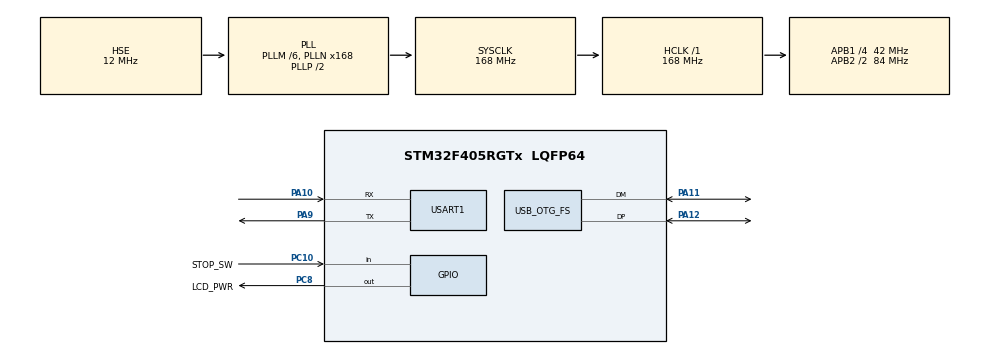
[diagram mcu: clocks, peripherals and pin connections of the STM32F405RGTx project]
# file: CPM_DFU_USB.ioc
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Mcu.Family=STM32F4
Mcu.Name=STM32F405RGTx
Mcu.Package=LQFP64
NVIC.OTG_FS_IRQn=true\:0\:0\:false\:false\:true\:false
NVIC.PriorityGroup=NVIC_PRIORITYGROUP_4
PA10.Mode=Asynchronous
PA10.Signal=USART1_RX
PA11.Mode=Host_Only
PA11.Signal=USB_OTG_FS_DM
PA12.Mode=Host_Only
PA12.Signal=USB_OTG_FS_DP
PA13.Mode=Serial_Wire
PA13.Signal=SYS_JTMS-SWDIO
PA14.Mode=Serial_Wire
PA14.Signal=SYS_JTCK-SWCLK
PA9.Mode=Asynchronous
PA9.Signal=USART1_TX
PC10.GPIO_Label=STOP_SW
PC10.GPIO_PuPd=GPIO_PULLUP
PC10.Signal=GPIO_Input
PC8.GPIO_Label=LCD_PWR
PC8.Signal=GPIO_Output
PH0-OSC_IN.Mode=HSE-External-Oscillator
PH0-OSC_IN.Signal=RCC_OSC_IN
PH1-OSC_OUT.Mode=HSE-External-Oscillator
PH1-OSC_OUT.Signal=RCC_OSC_OUT
ProjectManager.HeapSize=0x800
ProjectManager.StackSize=0x400
ProjectManager.TargetToolchain=EWARM
RCC.48MHZClocksFreq_Value=48000000
RCC.AHBFreq_Value=168000000
RCC.APB1CLKDivider=RCC_HCLK_DIV4
RCC.APB1Freq_Value=42000000
RCC.APB1TimFreq_Value=84000000
RCC.APB2CLKDivider=RCC_HCLK_DIV2
RCC.APB2Freq_Value=84000000
RCC.APB2TimFreq_Value=168000000
RCC.CortexFreq_Value=168000000
RCC.HCLKFreq_Value=168000000
RCC.HSE_VALUE=12000000
RCC.HSI_VALUE=16000000
RCC.LSE_VALUE=32768
RCC.PLLM=6
RCC.PLLN=168
RCC.PLLQ=7
RCC.SYSCLKFreq_VALUE=168000000
RCC.SYSCLKSource=RCC_SYSCLKSOURCE_PLLCLK
RCC.VCOOutputFreq_Value=336000000
USART1.VirtualMode=VM_ASYNC
USB_HOST.USBH_HandleTypeDef-MSC_FS=hUsbHostFS
USB_HOST.VirtualModeFS=Msc
USB_OTG_FS.VirtualMode=Host_Only
USB_OTG_FS.phy_itface=HCD_PHY_EMBEDDED
VP_FATFS_VS_USB.Mode=USB
VP_USB_HOST_VS_USB_HOST_MSC_FS.Mode=MSC_FS
board=CPM_DFU_USB

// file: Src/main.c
/**
  ******************************************************************************
  * File Name          : main.c
  * Description        : Main program body
  ******************************************************************************
  * This notice applies to any and all portions of this file
  * that are not between comment pairs USER CODE BEGIN and
  * USER CODE END. Other portions of this file, whether
  * inserted by the user or by software development tools
  * are owned by their respective copyright owners.
  *
  * Copyright (c) 2018 STMicroelectronics International N.V.
  * All rights reserved.
  *
  * Redistribution and use in source and binary forms, with or without
  * modification, are permitted, provided that the following conditions are met:
  *
  * 1. Redistribution of source code must retain the above copyright notice,
  *    this list of conditions and the following disclaimer.
  * 2. Redistributions in binary form must reproduce the above copyright notice,
  *    this list of conditions and the following disclaimer in the documentation
  *    and/or other materials provided with the distribution.
  * 3. Neither the name of STMicroelectronics nor the names of other
  *    contributors to this software may be used to endorse or promote products
  *    derived from this software without specific written permission.
  * 4. This software, including modifications and/or derivative works of this
  *    software, must execute solely and exclusively on microcontroller or
  *    microprocessor devices manufactured by or for STMicroelectronics.
  * 5. Redistribution and use of this software other than as permitted under
  *    this license is void and will automatically terminate your rights under
  *    this license.
  *
  * THIS SOFTWARE IS PROVIDED BY STMICROELECTRONICS AND CONTRIBUTORS "AS IS"
  * AND ANY EXPRESS, IMPLIED OR STATUTORY WARRANTIES, INCLUDING, BUT NOT
  * LIMITED TO, THE IMPLIED WARRANTIES OF MERCHANTABILITY, FITNESS FOR A
  * PARTICULAR PURPOSE AND NON-INFRINGEMENT OF THIRD PARTY INTELLECTUAL PROPERTY
  * RIGHTS ARE DISCLAIMED TO THE FULLEST EXTENT PERMITTED BY LAW. IN NO EVENT
  * SHALL STMICROELECTRONICS OR CONTRIBUTORS BE LIABLE FOR ANY DIRECT, INDIRECT,
  * INCIDENTAL, SPECIAL, EXEMPLARY, OR CONSEQUENTIAL DAMAGES (INCLUDING, BUT NOT
  * LIMITED TO, PROCUREMENT OF SUBSTITUTE GOODS OR SERVICES; LOSS OF USE, DATA,
  * OR PROFITS; OR BUSINESS INTERRUPTION) HOWEVER CAUSED AND ON ANY THEORY OF
  * LIABILITY, WHETHER IN CONTRACT, STRICT LIABILITY, OR TORT (INCLUDING
  * NEGLIGENCE OR OTHERWISE) ARISING IN ANY WAY OUT OF THE USE OF THIS SOFTWARE,
  * EVEN IF ADVISED OF THE POSSIBILITY OF SUCH DAMAGE.
  *
  ******************************************************************************
  */

#include "main.h"
#include "stm32f4xx_hal.h"
#include "fatfs.h"
#include "usb_host.h"

UART_HandleTypeDef huart1;

/* USER CODE BEGIN PV */
#define ADDR_FLASH_SECTOR_0     ((uint32_t)0x08000000) /* Base @ of Sector 0, 16 Kbytes */
#define ADDR_FLASH_SECTOR_1     ((uint32_t)0x08004000) /* Base @ of Sector 1, 16 Kbytes */
#define ADDR_FLASH_SECTOR_2     ((uint32_t)0x08008000) /* Base @ of Sector 2, 16 Kbytes */
#define ADDR_FLASH_SECTOR_3     ((uint32_t)0x0800C000) /* Base @ of Sector 3, 16 Kbytes */
#define ADDR_FLASH_SECTOR_4     ((uint32_t)0x08010000) /* Base @ of Sector 4, 64 Kbytes */
#define ADDR_FLASH_SECTOR_5     ((uint32_t)0x08020000) /* Base @ of Sector 5, 128 Kbytes */
#define ADDR_FLASH_SECTOR_6     ((uint32_t)0x08040000) /* Base @ of Sector 6, 128 Kbytes */
#define ADDR_FLASH_SECTOR_7     ((uint32_t)0x08060000) /* Base @ of Sector 7, 128 Kbytes */
#define ADDR_FLASH_SECTOR_8     ((uint32_t)0x08080000) /* Base @ of Sector 8, 128 Kbytes */
#define ADDR_FLASH_SECTOR_9     ((uint32_t)0x080A0000) /* Base @ of Sector 9, 128 Kbytes */
#define ADDR_FLASH_SECTOR_10    ((uint32_t)0x080C0000) /* Base @ of Sector 10, 128 Kbytes */
#define ADDR_FLASH_SECTOR_11    ((uint32_t)0x080E0000) /* Base @ of Sector 11, 128 Kbytes */

#define FLASH_USER_START_ADDR		ADDR_FLASH_SECTOR_3   /* Start @ of user Flash area */
#define FLASH_USER_END_ADDR     	ADDR_FLASH_SECTOR_11   /* End @ of user Flash area */
#define FLASH_ENDURANCE			(10000-100)

#define FLASH_PAGE_SIZE1         		((uint32_t)(1024*1))   /* FLASH Page Size (1024 byte) */
#define FLASH_PAGE_SIZE16         		((uint32_t)(1024*16))   /* FLASH Page Size (16384 byte) */
#define FLASH_PAGE_SIZE64         		((uint32_t)(1024*64))   /* FLASH Page Size (16384 byte) */
#define FLASH_PAGE_SIZE128        	((uint32_t)(1024*128))   /* FLASH Page Size (16384 byte) */
#define FLASH_PI_DATA_SIZE				64 //patient info data size
#define FLASH_PI_TOTAL_NUM				512

#define FLASH_SYSTEM_INFO_ADDR		(uint32_t)FLASH_USER_START_ADDR
#define FLASH_SYSTEM_INFO2_ADDR		(uint32_t)(FLASH_SYSTEM_INFO_ADDR+FLASH_PAGE_SIZE16)	//for bad block after 100,000 write
#define FLASH_PATIENT_DATA_ADDR		(uint32_t)(FLASH_SYSTEM_INFO2_ADDR+FLASH_PAGE_SIZE16)
#define FLASH_PATIENT_DATA2_ADDR		(uint32_t)(FLASH_PATIENT_DATA_ADDR+ \
										(FLASH_PI_DATA_SIZE*FLASH_PI_TOTAL_NUM)*FLASH_PAGE_SIZE16)	//for bad block

#define SIZE_OF_U32						4
#define APP_BLOCK_TRANSFER_SIZE		512
#define PRINTF_BUF  100
#define FLASH_SPACE_FOR_FW			1024*1024-(128*2*1024+16*2*1024)
//HX 	: hexar
//_KR 	: model name
//50 	: model version and region
//P		: type
#define FW_FILE_NAME					"\\HX_KR20P.BIN"
//
//support function
//#define SUPPORT_BD_V21

enum _LANG_TYPE {
	LT_ENG,				//pjg<>180330 change position to kor
	LT_KOR,
	LT_CHINA,
	LT_MAX
};

enum _OS_ERROR_CODE {
	//드라이버 IC
	EC_MDIC_UNDER_VOL,			//저전압
	EC_MDIC_HIGH_TEMP,			//고온
	EC_MDIC_HOLL,					//홀 센싱 에러
	EC_MDIC_SHORT_GND,			//그라운드로 단락
	EC_MDIC_SHORT_VCC,			//전원으로 단락
	EC_MDIC_MOTOR_SHORT,			//모터 단락
	EC_MDIC_LOW_CUR,				//저전류
	//모터관련
	EC_MOTOR_OVERLOAD	= 20,	//모터 과부하
	//LCD
	EC_LCD_COMM			= 40,	//LCD와 통신 에러
	//HOME-IN
	EC_HOMEIN				= 60,	//홈인 에러
	EC_OVER_RANGE,				//구동 중 제한 범위 벗어난 경우
	//USB
	EC_USB_DISK_FAIL		= 80,	//USB 인식 안됨
	EC_USB_OPEN,					//파일 열기 안됨
	EC_USB_WRITE,					//파일 쓰기 안됨
	EC_USB_READ,					//파일 읽기 안됨
	//EEPROM
	EC_EEP_READ			= 90,	//읽기 안됨
	EC_EEP_WRITE,					//쓰기 안됨
	//Login
	EC_LOGIN_PWD_ERR,				//암호5회 틀림
	//etc
	EC_EMPTY_SYSINFO,				//시스템 파라미터 없음. (Calibration 실행 )
	EC_NO_FIRMWARE,				//펌웨어 없음(DFU)
	Error_MAX
};

enum _KEY_TYPE {
	KEY_NONE,
	KEY_SHORT,
	KEY_LONG,
	KEY_LONG_10S,
	KEY_MAX
};

/* Private variables ---------------------------------------------------------*/
char *pSndInfo[][LT_MAX] = {
	//eng                               kor                         china   etc..
	{"sp wav/1E.wav\r",	 	"sp wav/1.wav\r",  	"sp wav/1c.wav\r"},		//angle
	{"sp wav/2E.wav\r",		 "sp wav/2.wav\r",  	"sp wav/2c.wav\r"},		//go home
	{"sp wav/3.wav\r",		 "sp wav/3.wav\r",  	"sp wav/3.wav\r"},		// go first button
	{"sp wav/4E.wav\r",		 "sp wav/4.wav\r",  	"sp wav/4c.wav\r"},		//run stop
	{"sp wav/5E.wav\r",		 "sp wav/5.wav\r",  	"sp wav/5c.wav\r"},		//run start
	{"sp wav/6E.wav\r",		 "sp wav/6.wav\r",  	"sp wav/6c.wav\r"},		//run pause
	{"sp wav/7E.wav\r",		 "sp wav/7.wav\r",  	"sp wav/7c.wav\r"},		//patient info
	{"sp wav/8.wav\r", 		 "sp wav/8.wav\r",  	"sp wav/8.wav\r"},		//left/right button
	{"sp wav/9E.wav\r",		 "sp wav/9.wav\r",  	"sp wav/9c.wav\r"},		//speed/time
	{"sp wav/10E.wav\r",		 "sp wav/10.wav\r", 	"sp wav/10c.wav\r"},		//init system
	{"sp wav/11.wav\r",		 "sp wav/11.wav\r", 	"sp wav/11.wav\r"},		//up/down button
	{"sp wav/12E.wav\r", 		 "sp wav/12.wav\r", 	"sp wav/12c.wav\r"},		//motor overload
	{"sp wav/13.wav\r", 		 "sp wav/13.wav\r", 	"sp wav/13.wav\r"},		//go to setup
	{"sp wav/14E.wav\r", 	 	 "sp wav/14.wav\r", 	"sp wav/14c.wav\r"},		//train complete
	{"sp wav/15E.wav\r\0", 	 "sp wav/15.wav\r\0", 	"sp wav/15c.wav\r\0"},		//system error
	{"sp wav/16E.wav\r\0", 	 "sp wav/16E.wav\r\0", 	"sp wav/16E.wav\r\0"},		//calibration complete
};

FIL fp; //file handle
DIR fat_dir;				    /* Directory object */
FILINFO fno;			  /* File information object */
FATFS fatfs; //structure with file system information
FRESULT FATFS_Status;
uint8_t appBuffer[FLASH_PAGE_SIZE16+1];
FLASH_EraseInitTypeDef EraseInitStruct;
uint32_t SectorError;
char USBH_Path[4];  /* USBH logical drive path */
uint32_t keyPressNum = 0;
uint32_t keyReleaseNum = 0;
char bufchk[100];
uint8_t fFWOk;
uint8_t fDispBootScreen;
uint32_t bootTime;
uint8_t drawPos;

extern ApplicationTypeDef Appli_state;

/* USER CODE END PV */

void SystemClock_Config(void);
static void MX_GPIO_Init(void);
static void MX_USART1_UART_Init(void);
void MX_USB_HOST_Process(void);

/* USER CODE BEGIN PFP */
/* Private function prototypes -----------------------------------------------*/

/* USER CODE END PFP */

/* USER CODE BEGIN 0 */
void uart_putstring(char *pbuf)
{
	int i;

	for (i = 0; i < PRINTF_BUF; i++) {
		bufchk[i] = pbuf[i];
		if (pbuf[i] == 0) break;
                    //printf("%c",pbuf[i]);
	}
    HAL_UART_Transmit(&huart1, (uint8_t *)bufchk, i, i*10);
}

uint8_t UI_DisplayErrorCode(uint16_t code)
{
	char buf[18];
	uint8_t errcode;
	//int i;

	buf[0] = 'i';
	buf[1] = ' ';
	buf[2] = 'r';
	//buf[3] = '0';
	buf[4] = '.';
	buf[5] = 'p';
	buf[6] = 'n';
	buf[7] = 'g';
	buf[8] = ',';
	buf[9] = '2';
	buf[10] = '9';
	buf[11] = '0';
	buf[12] = ',';
	buf[13] = '1';
	buf[14] = '1';
	buf[15] = '3';
	buf[16] = '\r';
	buf[17] = 0;

	errcode = (uint8_t)(code&0x00ff);
	uart_putstring("i error.png,0,0\r");

	buf[3] = '0' + errcode/10;
	uart_putstring(buf); //1st
	buf[3] = '0' + errcode%10;
	buf[9] = '3';	//x coord
	buf[10] = '0';
	buf[11] = '5';
	uart_putstring(buf); //2st

	return ((uint8_t)(code>>8));
}

char *UI_GetSndInfo(uint8_t num)
{
	return pSndInfo[num][0];
}

void UI_AniProgress2(uint32_t pos)
{
    if (pos >= 10) return;
	switch (pos%10) {
	case 0:
		uart_putstring("i lsndb.bmp,102,177\r");
		uart_putstring("i rsndb.bmp,107,177\r");
		//APP_SendMessage(hParent, WM_PAINT, 0, (LPARAM)"i fbar.bmp,99,173\r");
		break;
	case 1:
		uart_putstring("i rsndb.bmp,132,177\r");
		break;
	case 2:
		uart_putstring("i rsndb.bmp,157,177\r");
		break;
	case 3:
		uart_putstring("i rsndb.bmp,182,177\r");
		break;
	case 4:
		uart_putstring("i rsndb.bmp,207,177\r");
		break;
	case 5:
		uart_putstring("i rsndb.bmp,232,177\r");
		break;
	case 6:
		uart_putstring("i rsndb.bmp,260,177\r");
		break;
	case 7:
		uart_putstring("i rsndb.bmp,288,177\r");
		break;
	case 8:
		uart_putstring("i rsndb.bmp,316,177\r");
		break;
	case 9:
		uart_putstring("i rsndb.bmp,344,177\r");
		break;
	}
}

void UI_DisplayProgress(int value, int max)
{
	int _1st, _2nd, _3rd;
	int per;
	int temp;
	char buf[18];
    char lang;

    lang = 1;

	buf[0] = 'i';
	buf[1] = ' ';
	buf[2] = '0';
	//buf[3] = '0';
	buf[4] = '.';
	buf[5] = 'b';
	buf[6] = 'm';
	buf[7] = 'p';
	buf[8] = ',';
    if (lang == 0) {
        buf[9] = '2';
        buf[10] = '1';
        buf[11] = '4';
    }
    else {
         buf[9] = '2';
        buf[10] = '1';
        buf[11] = '4';
   }
	buf[12] = ',';
	buf[13] = '1';
	buf[14] = '4';
	buf[15] = '2';
	buf[16] = '\r';
    buf[17] = 0;

	per = (value*100)/max;
    if (drawPos == per) return;
    drawPos = per;
	//per += 1;
	_3rd= per/100;
	temp = per%100;
	_2nd = temp/10;
	_1st = temp%10;
	buf[3] = '0'+_1st;
	uart_putstring(buf);
	buf[3] = '0'+_2nd;
	buf[10] = '0';//'1';
	buf[11] = '0';//'2';
	if(_2nd > 0 || _3rd > 0)
		uart_putstring(buf);
	buf[3] = '0'+_3rd;
	buf[9] = '1';
	buf[10] = '8';//'9';
	buf[11] = '6';//'8';
	if(_3rd > 0)
		uart_putstring(buf);
	UI_AniProgress2(per/10);

}

static uint32_t GetSector(uint32_t Address)
{
	uint32_t sector = 0;

	if((Address < ADDR_FLASH_SECTOR_1) && (Address >= ADDR_FLASH_SECTOR_0))
	{
		sector = FLASH_SECTOR_0;
	}
	else if((Address < ADDR_FLASH_SECTOR_2) && (Address >= ADDR_FLASH_SECTOR_1))
	{
		sector = FLASH_SECTOR_1;
	}
	else if((Address < ADDR_FLASH_SECTOR_3) && (Address >= ADDR_FLASH_SECTOR_2))
	{
		sector = FLASH_SECTOR_2;
	}
	else if((Address < ADDR_FLASH_SECTOR_4) && (Address >= ADDR_FLASH_SECTOR_3))
	{
		sector = FLASH_SECTOR_3;
	}
	else if((Address < ADDR_FLASH_SECTOR_5) && (Address >= ADDR_FLASH_SECTOR_4))
	{
		sector = FLASH_SECTOR_4;
	}
	else if((Address < ADDR_FLASH_SECTOR_6) && (Address >= ADDR_FLASH_SECTOR_5))
	{
		sector = FLASH_SECTOR_5;
	}
	else if((Address < ADDR_FLASH_SECTOR_7) && (Address >= ADDR_FLASH_SECTOR_6))
	{
		sector = FLASH_SECTOR_6;
	}
	else if((Address < ADDR_FLASH_SECTOR_8) && (Address >= ADDR_FLASH_SECTOR_7))
	{
		sector = FLASH_SECTOR_7;
	}
	else if((Address < ADDR_FLASH_SECTOR_9) && (Address >= ADDR_FLASH_SECTOR_8))
	{
		sector = FLASH_SECTOR_8;
	}
	else if((Address < ADDR_FLASH_SECTOR_10) && (Address >= ADDR_FLASH_SECTOR_9))
	{
		sector = FLASH_SECTOR_9;
	}
	else if((Address < ADDR_FLASH_SECTOR_11) && (Address >= ADDR_FLASH_SECTOR_10))
	{
		sector = FLASH_SECTOR_10;
	}
	else /* (Address < FLASH_END_ADDR) && (Address >= ADDR_FLASH_SECTOR_11) */
	{
		sector = FLASH_SECTOR_11;
	}

	return sector;
}

int CopyAppToUserMemory(FSIZE_t appSize)
{
	uint32_t i, j, k;
	FSIZE_t appTailSize, appBodySize;
	FSIZE_t appAddrPointer;
	UINT readBytes;
    uint32_t total_per;

	uart_putstring("i Saving.png,0,0\r");
	UI_DisplayProgress(0, 100);

	if (f_lseek(&fp, 0) != FR_OK) return 0; //Go to the fist position of file
	appTailSize = appSize % APP_BLOCK_TRANSFER_SIZE;
	appBodySize = appSize - appTailSize;
	appAddrPointer = 0;
    total_per = ((appSize / FLASH_PAGE_SIZE16) + 1) + appBodySize/APP_BLOCK_TRANSFER_SIZE + 1;
    k = 0;
	HAL_FLASH_Unlock();
	for(i = 0; i < ((appSize / FLASH_PAGE_SIZE16) + 1); i++) //Erase n + 1 pages for new application
	{
		//while(FLASH_GetStatus() != FLASH_COMPLETE);
		EraseInitStruct.Sector = GetSector(FLASH_USER_START_ADDR + i * FLASH_PAGE_SIZE16);
		if (HAL_FLASHEx_Erase(&EraseInitStruct, &SectorError) != HAL_OK)
		{
			//uSysStatus.all |= FLASH_ERASE_FAIL;
			HAL_FLASH_Lock();
			return 0;
		}
		UI_DisplayProgress(k++, total_per);
	}

	for(i = 0; i < appBodySize; i += APP_BLOCK_TRANSFER_SIZE)
	{
		/*
		* For example, size of File1 = 1030 bytes
		* File1 = 2 * 512 bytes + 6 bytes
		* "body" = 2 * 512, "tail" = 6
		* Let's write "body" and "tail" to MCU FLASH byte after byte with 512-byte blocks
		*/
		if (f_read(&fp, appBuffer, APP_BLOCK_TRANSFER_SIZE, &readBytes)  != FR_OK)
			return 0; //Read 512 byte from file
		if (APP_BLOCK_TRANSFER_SIZE != readBytes) return 0;

        if (i == 0)
          ;//appBuffer[8] ^= 0xe0; //decode
		for(j = 0; j < APP_BLOCK_TRANSFER_SIZE; j += SIZE_OF_U32) //write 512 byte to FLASH
		{
			//while(FLASH_GetStatus() != FLASH_COMPLETE);
			if (HAL_FLASH_Program(FLASH_TYPEPROGRAM_WORD,
				FLASH_USER_START_ADDR + i + j,
				*((uint32_t *)&appBuffer[j])) != HAL_OK)
			{
				//uSysStatus.all |= FLASH_WRITE_FAIL;
				HAL_FLASH_Lock();
				return 0;
			}
		}
		appAddrPointer += APP_BLOCK_TRANSFER_SIZE; //pointer to current position in FLASH for write
		UI_DisplayProgress(k++, total_per);
	}

	if (f_read(&fp, appBuffer, appTailSize, &readBytes) != FR_OK)
		return 0; //Read "tail" that < 512 bytes from file
		if (appTailSize != readBytes) return 0;
	while((appTailSize % SIZE_OF_U32) != 0)     //if appTailSize MOD 4 != 0 (seems not possible, but still...)
	{
		appTailSize++;              //increase the tail to a multiple of 4
		appBuffer[appTailSize - 1] = 0xFF;  //and put 0xFF in this tail place
	}

	for(i = 0; i < appTailSize; i += SIZE_OF_U32) //write "tail" to FLASH
	{
		//while(FLASH_GetStatus() != FLASH_COMPLETE);
		if (HAL_FLASH_Program(FLASH_TYPEPROGRAM_WORD,
			FLASH_USER_START_ADDR + appAddrPointer + i,
			*((volatile uint32_t*)(appBuffer + i))) != HAL_OK)
		{
			//uSysStatus.all |= FLASH_WRITE_FAIL;
			HAL_FLASH_Lock();
			return 0;
		}
	}
	UI_DisplayProgress(total_per, total_per);

	return 1;
}

void GoToUserApp(void)
{
	uint32_t appJumpAddress;
	void (*GoToApp)(void);

	/* Test if user code is programmed starting from address "ApplicationAddress" */
	if (((*(uint32_t*)FLASH_USER_START_ADDR) & 0x2FFF0000 ) == 0x20000000)
	{ /* Jump to user application */
		appJumpAddress = *((volatile uint32_t*)(FLASH_USER_START_ADDR + 4));
		GoToApp = (void (*)(void))appJumpAddress;
		//SCB->VTOR = FLASH_USER_START_ADDR;
		__set_MSP(*((volatile uint32_t*) FLASH_USER_START_ADDR)); //stack pointer (to RAM) for USER app in this address
		GoToApp();
    	}
	else {
		if (bootTime < 200) HAL_Delay(200-bootTime);
		uart_putstring("\r");
		UI_DisplayErrorCode(EC_NO_FIRMWARE);
		uart_putstring(UI_GetSndInfo(14));
	}
}

uint32_t idlecnt = 0;;
uint32_t startcnt = 0;
uint32_t disconcnt = 0;
uint32_t readycnt = 0;
int CheckUSBMemory(void)
{
	//uint32_t i;

	//while (1)
	{
		//MX_USB_HOST_Process();
		if (Appli_state == APPLICATION_IDLE) {
			idlecnt++;
			return 0;
		}
		else if (Appli_state == APPLICATION_START) {
			startcnt++;
			return 0;
		}
		else if (Appli_state == APPLICATION_DISCONNECT) {
			disconcnt++;
			return 0;
		}
		else if (Appli_state == APPLICATION_READY) {
			readycnt++;
			return 1;
			//break;
		}
		//i++;
		//if (i == 3400) {
		//	uart_putstring("i load.bmp,0,0\r");
		//}
		//if (i < 3500) return 0;
		//HAL_Delay(1);
	}
	return 1;
}

int CheckPressedKey(uint32_t loop, uint8_t flag)
{
	uint32_t i;

    HAL_GPIO_WritePin(LCD_PWR_GPIO_Port, LCD_PWR_Pin, GPIO_PIN_RESET);                                // LCD PWR LOW
   	keyReleaseNum = 0;
	keyPressNum = 0;
	bootTime = 0;
	if (HAL_GPIO_ReadPin(STOP_SW_GPIO_Port, STOP_SW_Pin) == GPIO_PIN_RESET) {
		for (i = 0; i < loop; i++) {
			MX_USB_HOST_Process();
			CheckUSBMemory();
			if (HAL_GPIO_ReadPin(STOP_SW_GPIO_Port, STOP_SW_Pin) == GPIO_PIN_RESET) {
				keyPressNum++;
				keyReleaseNum = 0;
			}
			else {
				if (keyPressNum) keyPressNum--;
				keyReleaseNum++;
				if (keyReleaseNum > 4) {
                    break;
                }
			}
			HAL_Delay(8);
			if (i == 20 && flag) {
				uart_putstring("\r");
				uart_putstring("i boot.bmp,0,0\r");
				fDispBootScreen = 1;
			}
			bootTime++;
		}
	}

	if (keyPressNum > 900) return KEY_LONG_10S;
	else if (keyPressNum > 200) return KEY_LONG;
	else if (keyPressNum > 2 && keyPressNum < 50) return KEY_SHORT;
	else {
        HAL_Delay(50);
        uart_putstring("\r");
        uart_putstring("i boot.bmp,0,0\r");
    }
	return KEY_NONE;
}

uint8_t FileCheckAndCopy(void)
{
	uint32_t i;
	UINT readBytes;
	FRESULT FILE_Status;
	FSIZE_t appSize;
    uint8_t tempbuf;

	FILE_Status = f_open(&fp, FW_FILE_NAME, FA_READ);
	if(FILE_Status == FR_OK)
	{
		appSize = f_size(&fp);
		if (appSize > 1000 && appSize < FLASH_SPACE_FOR_FW) {
			fFWOk = 1;
			for(i = 0; i < appSize; i++) //Byte-to-byte compare files in MSD_MEM and USER_MEM
			{
				f_read(&fp, &appBuffer, 1, &readBytes);
                tempbuf = *((volatile uint8_t*)(FLASH_USER_START_ADDR + i));
				if(tempbuf != appBuffer[0])
				//if(*((volatile uint8_t*)(FLASH_USER_START_ADDR + i)) != appBuffer[0])
				{
					//if byte of USER_MEM != byte of MSD_MEM
                    tempbuf = 1;
					break;
				}
				if ( i == 2) {  //stack lsb address
					if (appBuffer[0] != 0x00) fFWOk = 0;
				}
				else if ( i == 3) {	//stack msb address
					if (appBuffer[0] != 0x20) fFWOk = 0;
				}
				else if ( i == 7) {	//f/w msb address
					if (appBuffer[0] != 0x08) fFWOk = 0;
				}
			}
			if (i != appSize && fFWOk)//=> was done "break" instruction in for(;;) cycle => new firmware in MSD_FLASH
			{
				//uart_putstring("i dfum.bmp,0,0\r");
				//HAL_Delay(10);
                drawPos = 200;
				if (!CopyAppToUserMemory(appSize)) {
					UI_DisplayErrorCode(EC_USB_WRITE);
					uart_putstring(UI_GetSndInfo(14));
					HAL_Delay(2000);
				}
                tempbuf = 1;
			}
			else {
                tempbuf = 2;
				if (fFWOk != 1) {
					UI_DisplayErrorCode(EC_EMPTY_SYSINFO);
					uart_putstring(UI_GetSndInfo(14));
					HAL_Delay(2000);
				}
			}
		}

		FILE_Status = f_close(&fp);
		//PeriphDeInit();
	}
	else //if FILE_Status != FR_OK
	{
		if(FILE_Status == FR_NO_FILE)
		{
			//No file error
		}
		else //if FILE_Status != FR_NO_FILE
		{
			//Other error
		}
		UI_DisplayErrorCode(EC_USB_OPEN);
		uart_putstring(UI_GetSndInfo(14));
		HAL_Delay(2000);
        tempbuf = 0;
	}
    return tempbuf;
}

void FLASH_SetParam(void)
{
	EraseInitStruct.TypeErase = FLASH_TYPEERASE_SECTORS;
	EraseInitStruct.NbSectors = 1;
	EraseInitStruct.VoltageRange = FLASH_VOLTAGE_RANGE_3;
}

int IsPressedButton(uint32_t time)
{
    keyPressNum = 0;
    keyReleaseNum = 0;

    while (time > 0)
    {
        if (HAL_GPIO_ReadPin(STOP_SW_GPIO_Port, STOP_SW_Pin) == GPIO_PIN_RESET) {
            keyPressNum++;
            keyReleaseNum = 0;
        }
        else {
            if (keyPressNum) keyPressNum--;
            keyReleaseNum++;
            if (keyReleaseNum > 4 && keyPressNum > 10 && keyPressNum < 200) {
                break;
            }
        }
 		HAL_Delay(10);
        time--;
   }

   if (keyPressNum > 999) {
     return KEY_LONG_10S;
   }
   else if (keyPressNum > 200) {
     return KEY_LONG;
   }
	else {
      if (keyPressNum > 10 && keyPressNum < 200) {
        return KEY_SHORT;
      }
    }

    return KEY_NONE;
}

void IsReleaseButton(uint32_t time)
{
    while (time > 0)
    {
        if (HAL_GPIO_ReadPin(STOP_SW_GPIO_Port, STOP_SW_Pin) == GPIO_PIN_RESET) {
        }
        else {
            keyReleaseNum++;
            if (keyReleaseNum > 10) {
                break;
            }
        }
 		HAL_Delay(10);
   }
}

/* USER CODE END 0 */

int main(void)
{

  /* MCU Configuration----------------------------------------------------------*/

  /* Reset of all peripherals, Initializes the Flash interface and the Systick. */
  HAL_Init();

  /* Configure the system clock */
  SystemClock_Config();

  /* Initialize all configured peripherals */
  MX_GPIO_Init();
  HAL_GPIO_WritePin(LCD_PWR_GPIO_Port, LCD_PWR_Pin, GPIO_PIN_RESET);                                // LCD PWR LOW
  MX_FATFS_Init();
  MX_USB_HOST_Init();
  MX_USART1_UART_Init();

  /* USER CODE BEGIN 2 */
  	//HAL_GPIO_WritePin(LCD_PWR_GPIO_Port, LCD_PWR_Pin, GPIO_PIN_RESET);                                // LCD PWR LOW
  	fDispBootScreen = 0;
	FLASH_SetParam();
	if (!CheckPressedKey(500, 1)) {
		GoToUserApp();
		while(1);
	}
	if (CheckUSBMemory()) {
	  	uart_putstring("i dfum.bmp,0,0\r");
        uart_putstring("f Release PLAY Button,100,220\r");
        IsReleaseButton(1);
        uart_putstring("fc 255,255,255\r");
        uart_putstring("f Release PLAY Button,100,220\r");
        uart_putstring("fc 0,0,0\r");
        uart_putstring("f Press PLAY Button,100,220\r");
        if (IsPressedButton(6000) == KEY_SHORT) {
            FATFS_Status = f_mount(&fatfs, (TCHAR const*)USBH_Path, 0);
            if(FATFS_Status == FR_OK)
            {
                drawPos = FileCheckAndCopy();
                FATFS_Status = f_mount(NULL, "0", 1);
                if (drawPos == 1) {
                    uart_putstring("fc 76,76,76\r");
                    uart_putstring("f Press PLAY Button,100,220\r");
                }
                else  if (drawPos == 2) {
                    uart_putstring("fc 255,255,255\r");
                    uart_putstring("f Press PLAY Button,100,220\r");
                }
                uart_putstring("fc 255,0,0\r");
                uart_putstring("f Remove USB and turn off power ,5,220\r");
                //HAL_Delay(2000);
                //GoToUserApp();
                while(1);
           }
            else //FATFS_Status != FR_OK
            {
                //FatFS mount error
                UI_DisplayErrorCode(EC_USB_DISK_FAIL);
                uart_putstring(UI_GetSndInfo(14));
            }
        }
        else {
            GoToUserApp();
       }
	}
	else {
		//usb check error
		GoToUserApp();
	}
	//while(1);

  /* USER CODE END 2 */

  /* Infinite loop */
  while (1)
  {
    //MX_USB_HOST_Process();

  }

}

/** System Clock Configuration
*/
void SystemClock_Config(void)
{

  RCC_OscInitTypeDef RCC_OscInitStruct;
  RCC_ClkInitTypeDef RCC_ClkInitStruct;

    /**Configure the main internal regulator output voltage
    */
  __HAL_RCC_PWR_CLK_ENABLE();

  __HAL_PWR_VOLTAGESCALING_CONFIG(PWR_REGULATOR_VOLTAGE_SCALE1);

    /**Initializes the CPU, AHB and APB busses clocks
    */
  RCC_OscInitStruct.OscillatorType = RCC_OSCILLATORTYPE_HSE;
  RCC_OscInitStruct.HSEState = RCC_HSE_ON;
  RCC_OscInitStruct.PLL.PLLState = RCC_PLL_ON;
  RCC_OscInitStruct.PLL.PLLSource = RCC_PLLSOURCE_HSE;
  RCC_OscInitStruct.PLL.PLLM = 6;
  RCC_OscInitStruct.PLL.PLLN = 168;
  RCC_OscInitStruct.PLL.PLLP = RCC_PLLP_DIV2;
  RCC_OscInitStruct.PLL.PLLQ = 7;
  if (HAL_RCC_OscConfig(&RCC_OscInitStruct) != HAL_OK)
  {
    _Error_Handler(__FILE__, __LINE__);
  }

    /**Initializes the CPU, AHB and APB busses clocks
    */
  RCC_ClkInitStruct.ClockType = RCC_CLOCKTYPE_HCLK|RCC_CLOCKTYPE_SYSCLK
                              |RCC_CLOCKTYPE_PCLK1|RCC_CLOCKTYPE_PCLK2;
  RCC_ClkInitStruct.SYSCLKSource = RCC_SYSCLKSOURCE_PLLCLK;
  RCC_ClkInitStruct.AHBCLKDivider = RCC_SYSCLK_DIV1;
  RCC_ClkInitStruct.APB1CLKDivider = RCC_HCLK_DIV4;
  RCC_ClkInitStruct.APB2CLKDivider = RCC_HCLK_DIV2;

  if (HAL_RCC_ClockConfig(&RCC_ClkInitStruct, FLASH_LATENCY_5) != HAL_OK)
  {
    _Error_Handler(__FILE__, __LINE__);
  }

    /**Configure the Systick interrupt time
    */
  HAL_SYSTICK_Config(HAL_RCC_GetHCLKFreq()/1000);

    /**Configure the Systick
    */
  HAL_SYSTICK_CLKSourceConfig(SYSTICK_CLKSOURCE_HCLK);

  /* SysTick_IRQn interrupt configuration */
  HAL_NVIC_SetPriority(SysTick_IRQn, 0, 0);
}

/* USART1 init function */
static void MX_USART1_UART_Init(void)
{

  huart1.Instance = USART1;
  huart1.Init.BaudRate = 115200;
  huart1.Init.WordLength = UART_WORDLENGTH_8B;
  huart1.Init.StopBits = UART_STOPBITS_1;
  huart1.Init.Parity = UART_PARITY_NONE;
  huart1.Init.Mode = UART_MODE_TX_RX;
  huart1.Init.HwFlowCtl = UART_HWCONTROL_NONE;
  huart1.Init.OverSampling = UART_OVERSAMPLING_16;
  if (HAL_UART_Init(&huart1) != HAL_OK)
  {
    _Error_Handler(__FILE__, __LINE__);
  }

}

/** Configure pins as
        * Analog
        * Input
        * Output
        * EVENT_OUT
        * EXTI
*/
static void MX_GPIO_Init(void)
{

  GPIO_InitTypeDef GPIO_InitStruct;

  /* GPIO Ports Clock Enable */
  __HAL_RCC_GPIOH_CLK_ENABLE();
  __HAL_RCC_GPIOC_CLK_ENABLE();
  __HAL_RCC_GPIOA_CLK_ENABLE();

  /*Configure GPIO pin Output Level */
  HAL_GPIO_WritePin(LCD_PWR_GPIO_Port, LCD_PWR_Pin, GPIO_PIN_RESET);

  /*Configure GPIO pin : LCD_PWR_Pin */
  GPIO_InitStruct.Pin = LCD_PWR_Pin;
#ifdef SUPPORT_BD_V21
    GPIO_InitStruct.Pin |= GPIO_PIN_7;
#endif
  GPIO_InitStruct.Mode = GPIO_MODE_OUTPUT_PP;
  GPIO_InitStruct.Pull = GPIO_NOPULL;
  GPIO_InitStruct.Speed = GPIO_SPEED_FREQ_LOW;
  HAL_GPIO_Init(LCD_PWR_GPIO_Port, &GPIO_InitStruct);

  /*Configure GPIO pin : STOP_SW_Pin */
  GPIO_InitStruct.Pin = STOP_SW_Pin;
  GPIO_InitStruct.Mode = GPIO_MODE_INPUT;
  GPIO_InitStruct.Pull = GPIO_PULLUP;
  HAL_GPIO_Init(STOP_SW_GPIO_Port, &GPIO_InitStruct);

}

void _Error_Handler(char * file, int line)
{
  while(1)
  {
  }
}

/************************ (C) COPYRIGHT STMicroelectronics *****END OF FILE****/
